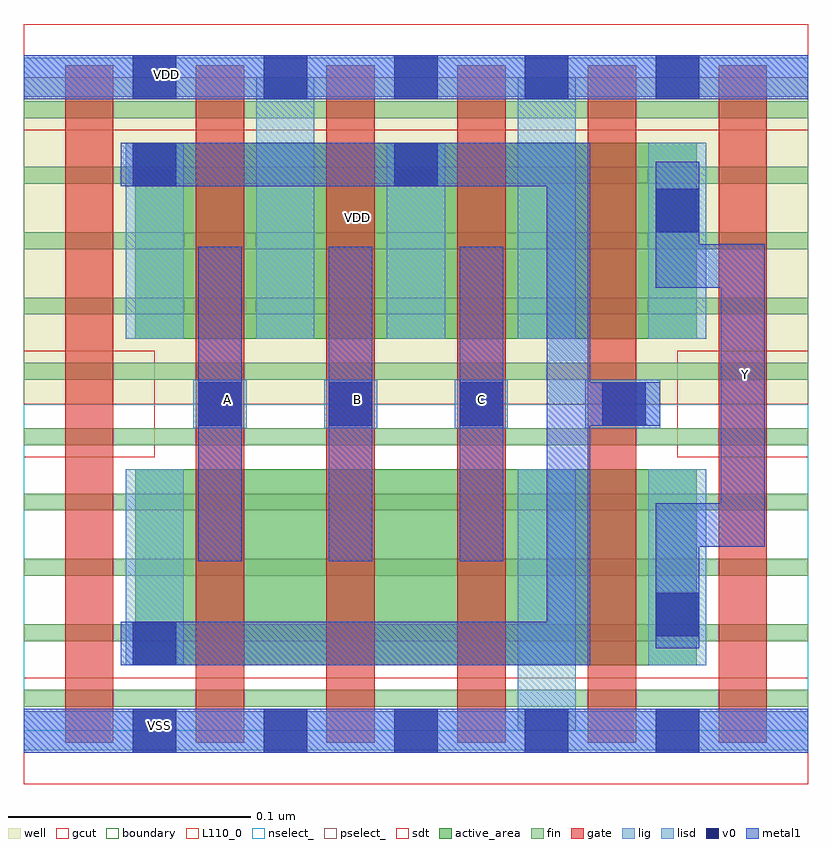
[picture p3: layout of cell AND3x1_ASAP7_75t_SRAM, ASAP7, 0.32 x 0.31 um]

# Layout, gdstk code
import gdstk
lib = gdstk.Library(unit=1e-6, precision=1e-09)
def R(c, l, rs):  # rectangles x0, y0, x1, y1
    for r in rs: c.add(gdstk.rectangle(r[:2], r[2:], *l))
def A(c, l, x, y, w, h, nx, ny, dx, dy):  # array of equal rectangles
    R(c, l, [(x+i*dx, y+j*dy, x+i*dx+w, y+j*dy+h) for i in range(nx) for j in range(ny)])
def P(c, l, *ps):  # polygons
    for p in ps: c.add(gdstk.Polygon(p, *l))
well = (1, 0)
fin = (2, 0)
gate = (7, 0)
gcut = (10, 0)
active_area = (11, 0)
nselect_ = (12, 0)
pselect_ = (13, 0)
lig = (16, 0)
lisd = (17, 0)
v0 = (18, 0)
metal1 = (19, 0)
sdt = (88, 0)
boundary = (100, 0)
L110_0 = (110, 0)

and3x1_asap7_75t_sram = lib.new_cell('AND3x1_ASAP7_75t_SRAM')
R(and3x1_asap7_75t_sram, well, [(0,0.135,0.324,0.27)])
A(and3x1_asap7_75t_sram, fin, 0, 0.01, 0.324, 0.007, 1, 10, 0, 0.027)
A(and3x1_asap7_75t_sram, gate, 0.017, -0.005, 0.02, 0.28, 6, 1, 0.054, 0)
R(and3x1_asap7_75t_sram, gate, [(0.287,-0.005,0.307,0.275)])
R(and3x1_asap7_75t_sram, gcut, [(0,-0.022,0.324,0.022), (0,0.113,0.054,0.157), (0.27,0.113,0.324,0.157), (0,0.248,0.324,0.292)])
R(and3x1_asap7_75t_sram, active_area, [(0.046,0.027,0.278,0.108), (0.046,0.162,0.278,0.243)])
R(and3x1_asap7_75t_sram, nselect_, [(0,0,0.324,0.135)])
R(and3x1_asap7_75t_sram, pselect_, [(0,0.135,0.324,0.27)])
A(and3x1_asap7_75t_sram, lig, 0.07, 0.125, 0.022, 0.02, 3, 1, 0.054, 0)
R(and3x1_asap7_75t_sram, lig, [(0,-0.008,0.324,0.008), (0.232,0.125,0.263,0.145), (0,0.262,0.324,0.278)])
A(and3x1_asap7_75t_sram, lisd, 0.042, 0.162, 0.024, 0.081, 3, 1, 0.108, 0)
R(and3x1_asap7_75t_sram, lisd, [(0.204,0,0.228,0.108), (0.042,0.027,0.066,0.108), (0.258,0.027,0.282,0.108), (0.096,0.162,0.12,0.27), (0.204,0.162,0.228,0.27)])
A(and3x1_asap7_75t_sram, v0, 0.045, -0.009, 0.018, 0.018, 5, 2, 0.054, 0.27)
A(and3x1_asap7_75t_sram, v0, 0.072, 0.126, 0.018, 0.018, 3, 1, 0.054, 0)
R(and3x1_asap7_75t_sram, v0, [(0.045,0.027,0.063,0.045), (0.261,0.039,0.279,0.057), (0.239,0.126,0.257,0.144), (0.261,0.206,0.279,0.224), (0.045,0.225,0.063,0.243), (0.153,0.225,0.171,0.243)])
A(and3x1_asap7_75t_sram, metal1, 0.072, 0.07, 0.018, 0.13, 3, 1, 0.054, 0)
R(and3x1_asap7_75t_sram, metal1, [(0,-0.009,0.324,0.009), (0,0.261,0.324,0.279)])
P(and3x1_asap7_75t_sram, metal1, [(0.263,0.144),(0.234,0.144),(0.234,0.243),(0.04,0.243),(0.04,0.225),(0.216,0.225),(0.216,0.045),(0.04,0.045),(0.04,0.027),(0.234,0.027),(0.234,0.126),(0.263,0.126)],
  [(0.306,0.201),(0.279,0.201),(0.279,0.235),(0.261,0.235),(0.261,0.183),(0.288,0.183),(0.288,0.094),(0.261,0.094),(0.261,0.034),(0.279,0.034),(0.279,0.076),(0.306,0.076)])
A(and3x1_asap7_75t_sram, sdt, 0.042, 0.162, 0.024, 0.081, 5, 1, 0.054, 0)
R(and3x1_asap7_75t_sram, sdt, [(0.042,0.027,0.066,0.108), (0.204,0.027,0.228,0.108), (0.258,0.027,0.282,0.108), (0.258,0.027,0.282,0.108), (0.258,0.162,0.282,0.243)])
R(and3x1_asap7_75t_sram, boundary, [(0,0,0.324,0.27)])
R(and3x1_asap7_75t_sram, L110_0, [(0,0,0.324,0.27)])
and3x1_asap7_75t_sram.add(gdstk.Label('Y', (0.298,0.147), layer=19, texttype=251))
and3x1_asap7_75t_sram.add(gdstk.Label('VDD', (0.059,0.271), layer=19, texttype=251))
and3x1_asap7_75t_sram.add(gdstk.Label('VSS', (0.056,0.002), layer=19, texttype=251))
and3x1_asap7_75t_sram.add(gdstk.Label('A', (0.084,0.137), layer=19, texttype=251))
and3x1_asap7_75t_sram.add(gdstk.Label('B', (0.138,0.137), layer=19, texttype=251))
and3x1_asap7_75t_sram.add(gdstk.Label('C', (0.189,0.137), layer=19, texttype=251))
and3x1_asap7_75t_sram.add(gdstk.Label('VDD', (0.138,0.212), layer=1, texttype=251))
and3x1_asap7_75t_sram.add(gdstk.Label('VSS', (0.205,-0.052), layer=3, texttype=251))

lib.write_gds('AND3x1_ASAP7_75t_SRAM.gds')
